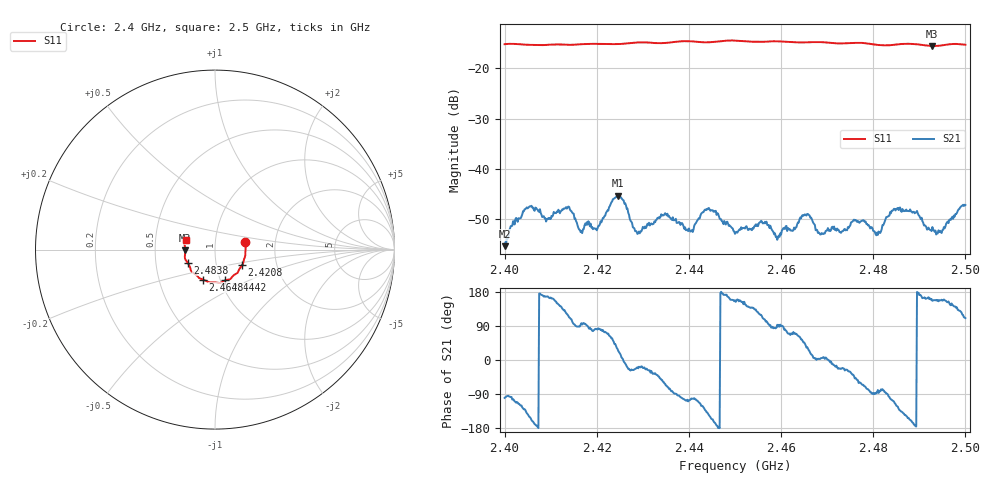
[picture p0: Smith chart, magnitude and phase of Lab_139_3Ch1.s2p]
# Hz S RI R 50
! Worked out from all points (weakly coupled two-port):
!   601 points, 2.4 GHz to 2.5 GHz, reference 50 ohm
!   highest |S21| = -45.26 dB at 2.4245 GHz (marker M1); lowest = -55.3 dB at 2.4 GHz (marker M2)
!   lowest |S11| = -15.6 dB at 2.4928 GHz (marker M3), VSWR 1.40, Z = 35.8 - j0.368 ohm
!   |S11| at or under -10 dB: start of sweep to end of sweep
!   S12 and S22 are empty: the file has one direction only
!   S11 on the Smith chart (normalised r, x): 2.4 GHz: 1.40, +0.12; 2.4208 GHz: 1.33, -0.24; 2.4442 GHz: 1.05, -0.37; 2.4648 GHz: 0.83, -0.29; 2.4838 GHz: 0.73, -0.11; 2.5 GHz: 0.72, +0.08
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2.4e9  0.1679 0.0411  -0.0003 -0.00169  0 0  0 0
2.405333e9  0.1703 0.00588  -0.00364 -0.00213  0 0  0 0
2.413667e9  0.1638 -0.0485  -0.00205 0.00363  0 0  0 0
2.416667e9  0.1589 -0.068  -0.0003 0.00241  0 0  0 0
2.420833e9  0.1508 -0.087  0.000568 0.00298  0 0  0 0
2.4245e9  0.1377 -0.1053  0.00477 0.00265  0 0  0 0
2.428833e9  0.1274 -0.1269  0.00214 -0.000754  0 0  0 0
2.433333e9  0.1078 -0.1401  0.00241 -0.00224  0 0  0 0
2.440333e9  0.0808 -0.1663  -0.000601 -0.00232  0 0  0 0
2.444167e9  0.0569 -0.1713  -0.00322 -0.00249  0 0  0 0
2.45e9  0.0244 -0.1864  -0.0021 0.000873  0 0  0 0
2.456e9  -0.0141 -0.1819  -0.00103 0.00271  0 0  0 0
2.459333e9  -0.0323 -0.1817  5.99e-05 0.00209  0 0  0 0
2.464833e9  -0.0681 -0.1667  0.00236 0.0025  0 0  0 0
2.466667e9  -0.0799 -0.1627  0.0031 0.000762  0 0  0 0
2.4685e9  -0.0878 -0.1587  0.00224 0.000117  0 0  0 0
2.476167e9  -0.1284 -0.1235  0.00211 -0.0023  0 0  0 0
2.481e9  -0.1395 -0.0968  0.000414 -0.00218  0 0  0 0
2.483333e9  -0.1504 -0.0762  -0.000351 -0.0034  0 0  0 0
2.483833e9  -0.1532 -0.0722  -0.000866 -0.00353  0 0  0 0
2.492833e9  -0.1659 -0.00501  -0.00243 0.00107  0 0  0 0
2.5e9  -0.1625 0.0527  -0.00154 0.00411  0 0  0 0
